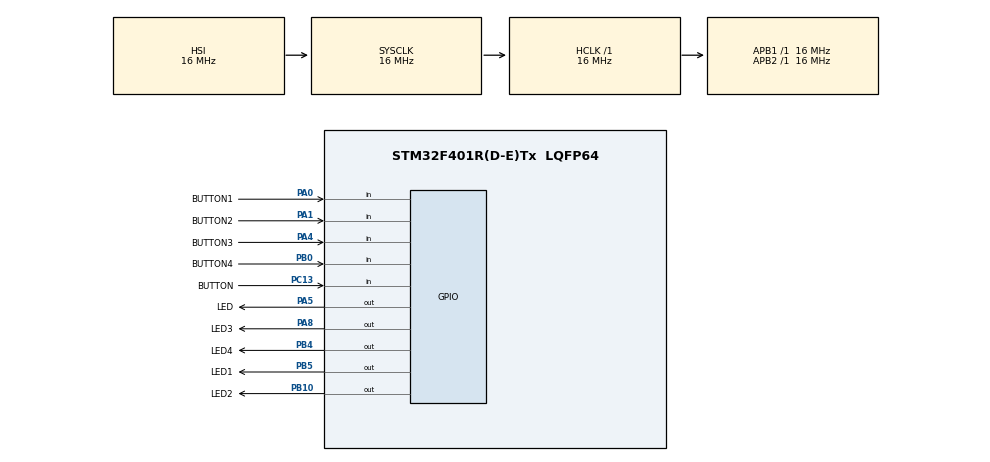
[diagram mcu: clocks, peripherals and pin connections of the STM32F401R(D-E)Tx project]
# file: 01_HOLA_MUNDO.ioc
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Mcu.Family=STM32F4
Mcu.Name=STM32F401R(D-E)Tx
Mcu.Package=LQFP64
NVIC.PriorityGroup=NVIC_PRIORITYGROUP_4
PA0-WKUP.GPIO_Label=BUTTON1
PA0-WKUP.GPIO_PuPd=GPIO_NOPULL
PA0-WKUP.Signal=GPIO_Input
PA1.GPIO_Label=BUTTON2
PA1.GPIO_PuPd=GPIO_NOPULL
PA1.Signal=GPIO_Input
PA4.GPIO_Label=BUTTON3
PA4.Signal=GPIO_Input
PA5.GPIO_Label=LED
PA5.Signal=GPIO_Output
PA8.GPIO_Label=LED3
PA8.Signal=GPIO_Output
PB0.GPIO_Label=BUTTON4
PB0.Signal=GPIO_Input
PB10.GPIO_Label=LED2
PB10.Signal=GPIO_Output
PB4.GPIO_Label=LED4
PB4.Signal=GPIO_Output
PB5.GPIO_Label=LED1
PB5.Signal=GPIO_Output
PC13-ANTI_TAMP.GPIO_Label=BUTTON
PC13-ANTI_TAMP.GPIO_PuPd=GPIO_PULLUP
PC13-ANTI_TAMP.Signal=GPIO_Input
ProjectManager.HeapSize=0x200
ProjectManager.StackSize=0x400
ProjectManager.TargetToolchain=STM32CubeIDE
RCC.AHBFreq_Value=16000000
RCC.APB1Freq_Value=16000000
RCC.APB2Freq_Value=16000000
RCC.CortexFreq_Value=16000000
RCC.HSE_VALUE=25000000
RCC.HSI_VALUE=16000000
RCC.LSE_VALUE=32768
RCC.SYSCLKFreq_VALUE=16000000
RCC.VCOOutputFreq_Value=192000000
board=custom

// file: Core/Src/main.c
/* USER CODE BEGIN Header */
/**
  ******************************************************************************
  * @file           : main.c
  * @brief          : Main program body
  ******************************************************************************
  * @attention
  *
  * Copyright (c) 2023 STMicroelectronics.
  * All rights reserved.
  *
  * This software is licensed under terms that can be found in the LICENSE file
  * in the root directory of this software component.
  * If no LICENSE file comes with this software, it is provided AS-IS.
  *
  ******************************************************************************
  */
/* USER CODE END Header */
#include "main.h"

void SystemClock_Config(void);
static void MX_GPIO_Init(void);

int main(void)
{

  /* MCU Configuration--------------------------------------------------------*/

  /* Reset of all peripherals, Initializes the Flash interface and the Systick. */
  HAL_Init();

  /* Configure the system clock */
  SystemClock_Config();

  /* Initialize all configured peripherals */
  MX_GPIO_Init();

  /* Infinite loop */
  /* USER CODE BEGIN WHILE */
  while (1)
  {
    //ejemplo 1
	/*
	HAL_GPIO_WritePin(LED1_GPIO_Port, LED1_Pin, SET);
	HAL_GPIO_WritePin(LED2_GPIO_Port, LED2_Pin, RESET);
	HAL_GPIO_WritePin(LED3_GPIO_Port, LED3_Pin, RESET);
	HAL_Delay(500);

	HAL_GPIO_WritePin(LED1_GPIO_Port, LED1_Pin, RESET);
	HAL_GPIO_WritePin(LED2_GPIO_Port, LED2_Pin, SET);
	HAL_GPIO_WritePin(LED3_GPIO_Port, LED3_Pin, SET);
	HAL_Delay(500);
    */

  //ejemplo 2
	  /*
	  if(!HAL_GPIO_ReadPin(BUTTON_GPIO_Port, BUTTON_Pin))
	  {
		  HAL_Delay(1);
		  while(!HAL_GPIO_ReadPin(BUTTON_GPIO_Port, BUTTON_Pin));
		  HAL_Delay(1);

		  HAL_GPIO_WritePin(LED1_GPIO_Port, LED1_Pin, SET);
		  HAL_GPIO_WritePin(LED2_GPIO_Port, LED2_Pin, RESET);
		  HAL_GPIO_WritePin(LED3_GPIO_Port, LED3_Pin, RESET);
		  HAL_Delay(500);
	  }else{
		  HAL_GPIO_WritePin(LED1_GPIO_Port, LED1_Pin, RESET);
		  HAL_GPIO_WritePin(LED2_GPIO_Port, LED2_Pin, SET);
		  HAL_GPIO_WritePin(LED3_GPIO_Port, LED3_Pin, SET);
		  HAL_Delay(500);
	  }
*/
	  //ejemplo 3
	  //PULL UP HW
	 	  if(!HAL_GPIO_ReadPin(BUTTON_GPIO_Port, BUTTON_Pin))
	 	  {
	 		  HAL_GPIO_WritePin(LED_GPIO_Port, LED_Pin, SET);

	 	  }else{
	 		  HAL_GPIO_WritePin(LED_GPIO_Port, LED_Pin, RESET);

	 	  }

	 	 if(!HAL_GPIO_ReadPin(BUTTON1_GPIO_Port, BUTTON1_Pin))
		  {
			  HAL_GPIO_WritePin(LED1_GPIO_Port, LED1_Pin, SET);

		  }else{
			  HAL_GPIO_WritePin(LED1_GPIO_Port, LED1_Pin, RESET);

		  }

	 	if(!HAL_GPIO_ReadPin(BUTTON2_GPIO_Port, BUTTON2_Pin))
		  {
			  HAL_GPIO_WritePin(LED2_GPIO_Port, LED2_Pin, SET);

		  }else{
			  HAL_GPIO_WritePin(LED2_GPIO_Port, LED2_Pin, RESET);

		  }
//PULL DOWN HW
	 	if(HAL_GPIO_ReadPin(BUTTON3_GPIO_Port, BUTTON3_Pin))
		  {
			  HAL_GPIO_WritePin(LED3_GPIO_Port, LED3_Pin, SET);

		  }else{
			  HAL_GPIO_WritePin(LED3_GPIO_Port, LED3_Pin, RESET);

		  }
	 	if(HAL_GPIO_ReadPin(BUTTON4_GPIO_Port, BUTTON4_Pin))
		  {
			  HAL_GPIO_WritePin(LED4_GPIO_Port, LED4_Pin, SET);

		  }else{
			  HAL_GPIO_WritePin(LED4_GPIO_Port, LED4_Pin, RESET);

		  }
    /* USER CODE END WHILE */

  }
}

void SystemClock_Config(void)
{
  RCC_OscInitTypeDef RCC_OscInitStruct = {0};
  RCC_ClkInitTypeDef RCC_ClkInitStruct = {0};

  /** Configure the main internal regulator output voltage
  */
  __HAL_RCC_PWR_CLK_ENABLE();
  __HAL_PWR_VOLTAGESCALING_CONFIG(PWR_REGULATOR_VOLTAGE_SCALE2);

  /** Initializes the RCC Oscillators according to the specified parameters
  * in the RCC_OscInitTypeDef structure.
  */
  RCC_OscInitStruct.OscillatorType = RCC_OSCILLATORTYPE_HSI;
  RCC_OscInitStruct.HSIState = RCC_HSI_ON;
  RCC_OscInitStruct.HSICalibrationValue = RCC_HSICALIBRATION_DEFAULT;
  RCC_OscInitStruct.PLL.PLLState = RCC_PLL_NONE;
  if (HAL_RCC_OscConfig(&RCC_OscInitStruct) != HAL_OK)
  {
    Error_Handler();
  }

  /** Initializes the CPU, AHB and APB buses clocks
  */
  RCC_ClkInitStruct.ClockType = RCC_CLOCKTYPE_HCLK|RCC_CLOCKTYPE_SYSCLK
                              |RCC_CLOCKTYPE_PCLK1|RCC_CLOCKTYPE_PCLK2;
  RCC_ClkInitStruct.SYSCLKSource = RCC_SYSCLKSOURCE_HSI;
  RCC_ClkInitStruct.AHBCLKDivider = RCC_SYSCLK_DIV1;
  RCC_ClkInitStruct.APB1CLKDivider = RCC_HCLK_DIV1;
  RCC_ClkInitStruct.APB2CLKDivider = RCC_HCLK_DIV1;

  if (HAL_RCC_ClockConfig(&RCC_ClkInitStruct, FLASH_LATENCY_0) != HAL_OK)
  {
    Error_Handler();
  }
}

static void MX_GPIO_Init(void)
{
  GPIO_InitTypeDef GPIO_InitStruct = {0};

  /* GPIO Ports Clock Enable */
  __HAL_RCC_GPIOC_CLK_ENABLE();
  __HAL_RCC_GPIOA_CLK_ENABLE();
  __HAL_RCC_GPIOB_CLK_ENABLE();

  /*Configure GPIO pin Output Level */
  HAL_GPIO_WritePin(GPIOA, LED_Pin|LED3_Pin, GPIO_PIN_RESET);

  /*Configure GPIO pin Output Level */
  HAL_GPIO_WritePin(GPIOB, LED2_Pin|LED4_Pin|LED1_Pin, GPIO_PIN_RESET);

  /*Configure GPIO pin : BUTTON_Pin */
  GPIO_InitStruct.Pin = BUTTON_Pin;
  GPIO_InitStruct.Mode = GPIO_MODE_INPUT;
  GPIO_InitStruct.Pull = GPIO_PULLUP;
  HAL_GPIO_Init(BUTTON_GPIO_Port, &GPIO_InitStruct);

  /*Configure GPIO pins : BUTTON1_Pin BUTTON2_Pin BUTTON3_Pin */
  GPIO_InitStruct.Pin = BUTTON1_Pin|BUTTON2_Pin|BUTTON3_Pin;
  GPIO_InitStruct.Mode = GPIO_MODE_INPUT;
  GPIO_InitStruct.Pull = GPIO_NOPULL;
  HAL_GPIO_Init(GPIOA, &GPIO_InitStruct);

  /*Configure GPIO pins : LED_Pin LED3_Pin */
  GPIO_InitStruct.Pin = LED_Pin|LED3_Pin;
  GPIO_InitStruct.Mode = GPIO_MODE_OUTPUT_PP;
  GPIO_InitStruct.Pull = GPIO_NOPULL;
  GPIO_InitStruct.Speed = GPIO_SPEED_FREQ_LOW;
  HAL_GPIO_Init(GPIOA, &GPIO_InitStruct);

  /*Configure GPIO pin : BUTTON4_Pin */
  GPIO_InitStruct.Pin = BUTTON4_Pin;
  GPIO_InitStruct.Mode = GPIO_MODE_INPUT;
  GPIO_InitStruct.Pull = GPIO_NOPULL;
  HAL_GPIO_Init(BUTTON4_GPIO_Port, &GPIO_InitStruct);

  /*Configure GPIO pins : LED2_Pin LED4_Pin LED1_Pin */
  GPIO_InitStruct.Pin = LED2_Pin|LED4_Pin|LED1_Pin;
  GPIO_InitStruct.Mode = GPIO_MODE_OUTPUT_PP;
  GPIO_InitStruct.Pull = GPIO_NOPULL;
  GPIO_InitStruct.Speed = GPIO_SPEED_FREQ_LOW;
  HAL_GPIO_Init(GPIOB, &GPIO_InitStruct);

}

void Error_Handler(void)
{
  __disable_irq();
  while (1)
  {
  }
}
